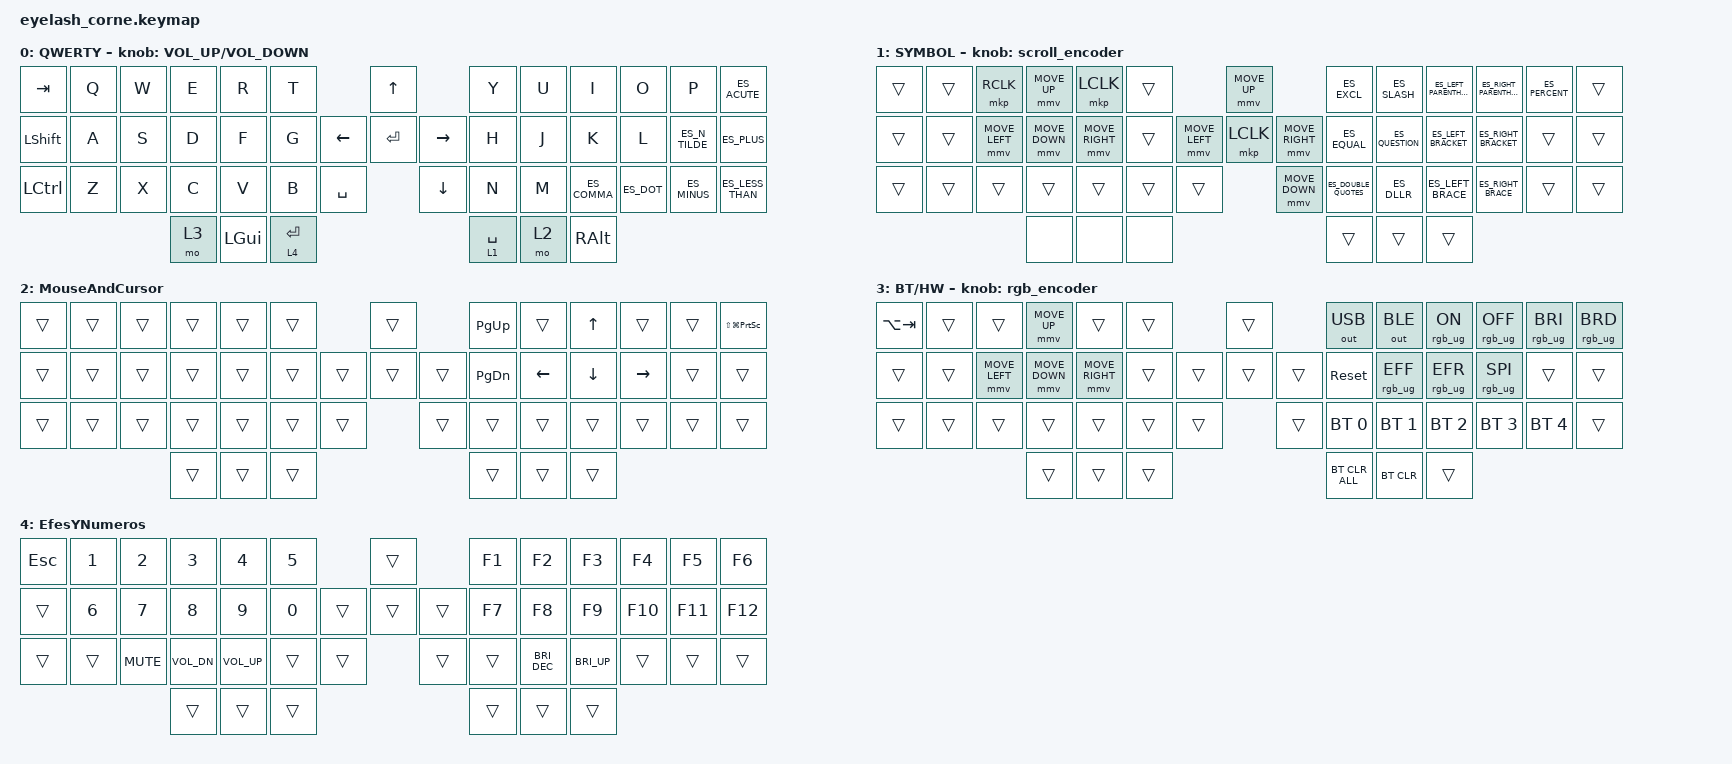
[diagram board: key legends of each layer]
#define ZMK_POINTING_DEFAULT_MOVE_VAL 1200  // 600
#define ZMK_POINTING_DEFAULT_SCRL_VAL 25   // 10

#include <input/processors.dtsi>
#include <zephyr/dt-bindings/input/input-event-codes.h>
#include <behaviors.dtsi>
#include <dt-bindings/zmk/bt.h>
#include <dt-bindings/zmk/keys.h>
#include <dt-bindings/zmk/outputs.h>
#include <dt-bindings/zmk/pointing.h>
#include <dt-bindings/zmk/rgb.h>
#include "keys_es_latin_american.h"

&mmv_input_listener { input-processors = <&zip_xy_scaler 2 1>; };

&msc_input_listener { input-processors = <&zip_scroll_scaler 2 1>; };

&msc {
    acceleration-exponent = <1>;      // 0
    time-to-max-speed-ms = <100>;       // 300
    delay-ms = <0>;                   // 0
};

&mmv {
    time-to-max-speed-ms = <500>;
    acceleration-exponent = <1>;
    trigger-period-ms = <16>;
};

/ {
    behaviors {
        td0: td0 {
            compatible = "zmk,behavior-tap-dance";
            display-name = "Shift/Caps Lock Tap Dance";
            #binding-cells = <0>;
            bindings = <&kp LEFT_SHIFT>, <&kp CAPS>;
        };

        // Custom layer-tap with improved timing for spacebar

        lt_space: lt_space {
            compatible = "zmk,behavior-hold-tap";
            #binding-cells = <2>;
            tapping-term-ms = <300>;
            quick-tap-ms = <175>;
            require-prior-idle-ms = <150>;
            flavor = "balanced";
            bindings = <&mo>, <&kp>;
        };
    };

    rgb_encoder: rgb_encoder {
        compatible = "zmk,behavior-sensor-rotate";
        #sensor-binding-cells = <0>;
        bindings = <&rgb_ug RGB_BRI>, <&rgb_ug RGB_BRD>;
    };

    scroll_encoder: scroll_encoder {
        compatible = "zmk,behavior-sensor-rotate";
        #sensor-binding-cells = <0>;
        bindings = <&msc SCRL_DOWN>, <&msc SCRL_UP>;

        tap-ms = <100>;
    };

    combos {
        compatible = "zmk,combos";

        borrar {
            bindings = <&kp BACKSPACE>;
            key-positions = <23 24>;
        };

        borrarderecha {
            bindings = <&kp BACKSPACE>;
            key-positions = <16 17>;
        };

        metakey_super {
            bindings = <&kp LEFT_META>;
            key-positions = <42 43>;
        };
    };

    keymap {
        compatible = "zmk,keymap";

        default_layer {
            display-name = "QWERTY";
            bindings = <
&kp TAB     &kp Q  &kp W  &kp E  &kp R         &kp T                                     &kp UP                &kp Y              &kp U  &kp I         &kp O       &kp P           &kp ES_ACUTE
&kp LSHIFT  &kp A  &kp S  &kp D  &kp F         &kp G                           &kp LEFT  &kp ENTER  &kp RIGHT  &kp H              &kp J  &kp K         &kp L       &kp ES_N_TILDE  &kp ES_PLUS
&kp LCTRL   &kp Z  &kp X  &kp C  &kp V         &kp B              &kp SPACE              &kp DOWN              &kp N              &kp M  &kp ES_COMMA  &kp ES_DOT  &kp ES_MINUS    &kp ES_LESS_THAN
                          &mo 3  &kp LEFT_GUI  &lt_space 4 ENTER                                               &lt_space 1 SPACE  &mo 2  &kp RALT
            >;

            sensor-bindings = <&inc_dec_kp C_VOLUME_UP C_VOLUME_DOWN>;
        };

        SpecialCharacters {
            display-name = "SYMBOL";
            bindings = <
&trans  &trans  &mkp RCLK       &mmv MOVE_UP    &mkp LCLK        &trans                            &mmv MOVE_UP                     &kp ES_EXCL           &kp ES_SLASH     &kp ES_LEFT_PARENTHESIS  &kp ES_RIGHT_PARENTHESIS  &kp ES_PERCENT  &trans
&trans  &trans  &mmv MOVE_LEFT  &mmv MOVE_DOWN  &mmv MOVE_RIGHT  &trans            &mmv MOVE_LEFT  &mkp LCLK       &mmv MOVE_RIGHT  &kp ES_EQUAL          &kp ES_QUESTION  &kp ES_LEFT_BRACKET      &kp ES_RIGHT_BRACKET      &trans          &trans
&trans  &trans  &trans          &trans          &trans           &trans  &trans                    &mmv MOVE_DOWN                   &kp ES_DOUBLE_QUOTES  &kp ES_DLLR      &kp ES_LEFT_BRACE        &kp ES_RIGHT_BRACE        &trans          &trans
                                &none           &none            &none                                                              &trans                &trans           &trans
            >;

            sensor-bindings = <&scroll_encoder>;
        };

        MouseAndCursor {
            bindings = <
&trans  &trans  &trans  &trans  &trans  &trans                    &trans          &kp PAGE_UP    &trans          &kp UP_ARROW  &trans     &trans  &kp LS(LG(PRINTSCREEN))
&trans  &trans  &trans  &trans  &trans  &trans            &trans  &trans  &trans  &kp PAGE_DOWN  &kp LEFT_ARROW  &kp DOWN      &kp RIGHT  &trans  &trans
&trans  &trans  &trans  &trans  &trans  &trans  &trans            &trans          &trans         &trans          &trans        &trans     &trans  &trans
                        &trans  &trans  &trans                                    &trans         &trans          &trans
            >;
        };

        BluetoothAndHardware {
            display-name = "BT/HW";
            bindings = <
&kp LA(TAB)  &trans  &trans          &mmv MOVE_UP    &trans           &trans                    &trans          &out OUT_USB    &out OUT_BLE     &rgb_ug RGB_ON   &rgb_ug RGB_OFF  &rgb_ug RGB_BRI  &rgb_ug RGB_BRD
&trans       &trans  &mmv MOVE_LEFT  &mmv MOVE_DOWN  &mmv MOVE_RIGHT  &trans            &trans  &trans  &trans  &sys_reset      &rgb_ug RGB_EFF  &rgb_ug RGB_EFR  &rgb_ug RGB_SPI  &trans           &trans
&trans       &trans  &trans          &trans          &trans           &trans  &trans            &trans          &bt BT_SEL 0    &bt BT_SEL 1     &bt BT_SEL 2     &bt BT_SEL 3     &bt BT_SEL 4     &trans
                                     &trans          &trans           &trans                                    &bt BT_CLR_ALL  &bt BT_CLR       &trans
            >;

            sensor-bindings = <&rgb_encoder>;
        };

        EfesYNumeros {
            bindings = <
&kp ESC  &kp NUMBER_1  &kp NUMBER_2  &kp NUMBER_3  &kp NUMBER_4  &kp NUMBER_5                    &trans          &kp F1  &kp F2         &kp F3        &kp F4   &kp F5   &kp F6
&trans   &kp NUMBER_6  &kp NUMBER_7  &kp NUMBER_8  &kp NUMBER_9  &kp NUMBER_0            &trans  &trans  &trans  &kp F7  &kp F8         &kp F9        &kp F10  &kp F11  &kp F12
&trans   &trans        &kp C_MUTE    &kp C_VOL_DN  &kp C_VOL_UP  &trans        &trans            &trans          &trans  &kp C_BRI_DEC  &kp C_BRI_UP  &trans   &trans   &trans
                                     &trans        &trans        &trans                                          &trans  &trans         &trans
            >;
        };
    };
};
